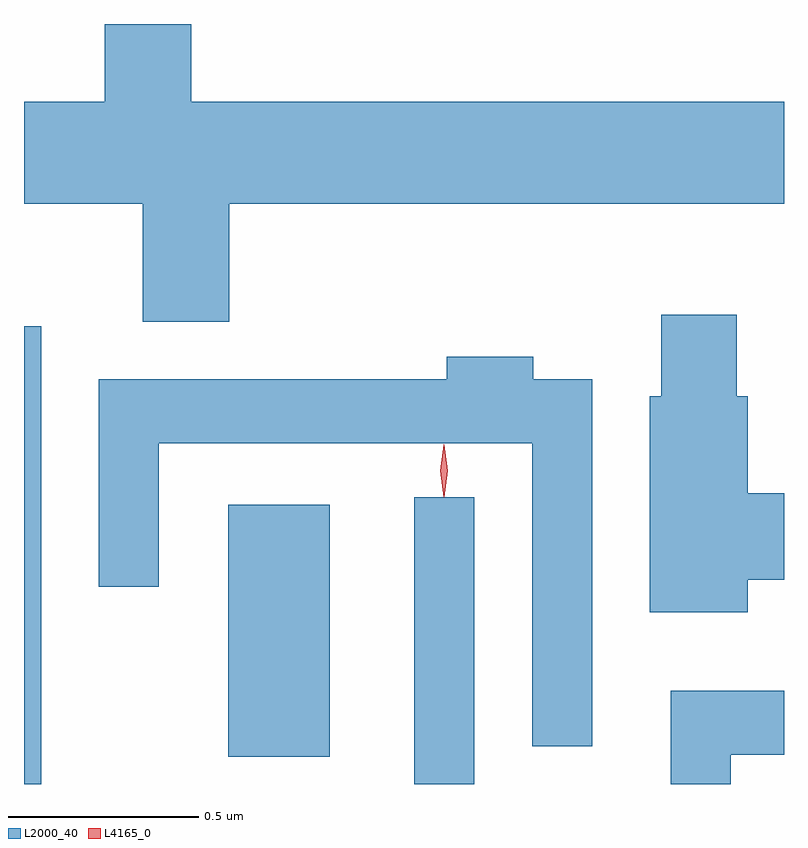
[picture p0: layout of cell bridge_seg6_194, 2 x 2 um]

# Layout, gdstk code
import gdstk
lib = gdstk.Library(unit=1e-6, precision=1e-09)
def R(c, l, rs):  # rectangles x0, y0, x1, y1
    for r in rs: c.add(gdstk.rectangle(r[:2], r[2:], *l))
def P(c, l, *ps):  # polygons
    for p in ps: c.add(gdstk.Polygon(p, *l))
L2000_40 = (2000, 40)
L4165_0 = (4165, 0)

bridge_seg6_194 = lib.new_cell('bridge_seg6_194')
R(bridge_seg6_194, L2000_40, [(1105.689,1568.489,1105.734,1569.693), (1106.716,1568.489,1106.874,1569.243), (1106.226,1568.561,1106.494,1569.224)])
P(bridge_seg6_194, L2000_40, [(1106.001,1569.706),(1106.229,1569.706),(1106.229,1570.016),(1107.689,1570.016),(1107.689,1570.284),(1106.129,1570.284),(1106.129,1570.489),(1105.901,1570.489),(1105.901,1570.284),(1105.689,1570.284),(1105.689,1570.016),(1106.001,1570.016)],
  [(1107.594,1569.026),(1107.689,1569.026),(1107.689,1569.254),(1107.594,1569.254),(1107.594,1569.509),(1107.564,1569.509),(1107.564,1569.724),(1107.366,1569.724),(1107.366,1569.509),(1107.336,1569.509),(1107.336,1568.941),(1107.594,1568.941)],
  [(1107.184,1569.554),(1107.029,1569.554),(1107.029,1569.614),(1106.801,1569.614),(1106.801,1569.554),(1105.886,1569.554),(1105.886,1569.008),(1106.044,1569.008),(1106.044,1569.386),(1107.026,1569.386),(1107.026,1568.588),(1107.184,1568.588)],
  [(1107.549,1568.566),(1107.689,1568.566),(1107.689,1568.734),(1107.391,1568.734),(1107.391,1568.489),(1107.549,1568.489)])
P(bridge_seg6_194, L4165_0, [(1106.794,1569.244),(1106.794,1569.244),(1106.784,1569.313),(1106.794,1569.382),(1106.794,1569.383),(1106.795,1569.382),(1106.804,1569.313),(1106.795,1569.244)])

lib.write_gds('bridge_seg6_194.gds')
